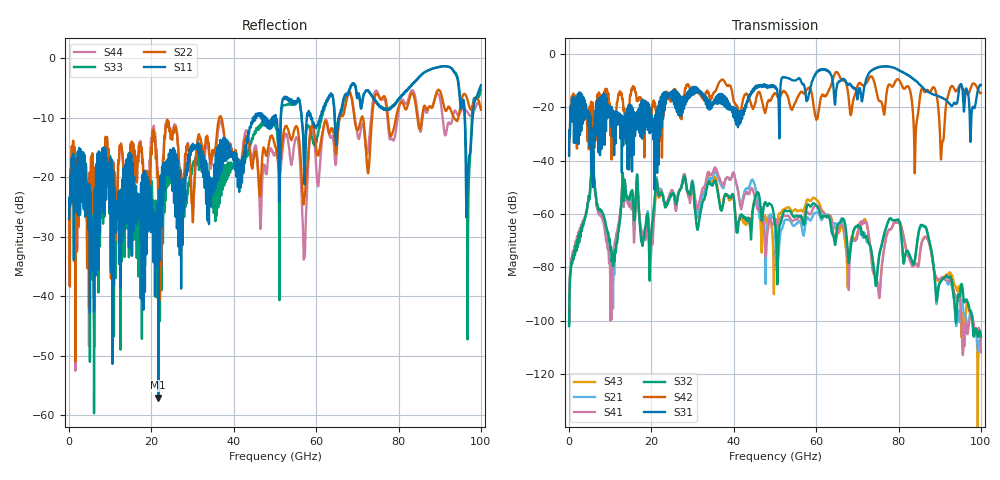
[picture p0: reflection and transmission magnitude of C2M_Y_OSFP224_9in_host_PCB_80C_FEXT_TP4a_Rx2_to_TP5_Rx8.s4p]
# GHz S RI R 45
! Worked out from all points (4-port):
!   4000 points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, 25 MHz to 100 GHz, reference 45 ohm
!   strongest paths, dB at 25 MHz, 25.02 GHz, 50.02 GHz, 75.03 GHz, 100 GHz:
!     S31: -38.1, -14.4, -12.4, -5.0, -11.6
!     S42: -37.8, -15.7, -14.7, -16.7, -14.7
!     S32: -102.0, -52.9, -63.6, -79.2, -105.8
!     S41: -100.4, -51.5, -61.7, -87.2, -111.8
!     S21: -101.2, -51.8, -65.7, -79.0, -110.0
!     S43: -101.3, -52.1, -74.5, -87.5, -106.6
!   lowest |S11| = -57.0 dB at 21.68 GHz (marker M1), VSWR 1.00, Z = 45.1 - j0.026 ohm
!   |S11| at or under -10 dB: start of sweep to 44.65 GHz; 58.95 GHz to 60.92 GHz (1.968 GHz wide, 3.28 % of centre); 96.08 GHz to 98 GHz (1.928 GHz wide, 1.99 % of centre)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
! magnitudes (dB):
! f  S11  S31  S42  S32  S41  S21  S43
! 25 MHz  -26.9  -38.1  -37.8  -102.0  -100.4  -101.2  -101.3
! 5.675 GHz  -33.2  -42.5  -18.2  -46.5  -46.4  -46.4  -46.5
! 10.18 GHz  -36.0  -27.2  -24.3  -72.4  -86.6  -75.4  -76.2
! 13.25 GHz  -18.7  -26.2  -21.4  -54.2  -56.6  -56.3  -54.3
! 19.82 GHz  -25.0  -23.8  -22.2  -70.7  -69.6  -76.9  -70.5
! 21.68 GHz  -57.0  -23.3  -26.8  -52.6  -51.6  -51.0  -53.3
! 100 GHz  -4.6  -11.6  -14.7  -105.8  -111.8  -110.0  -106.6
